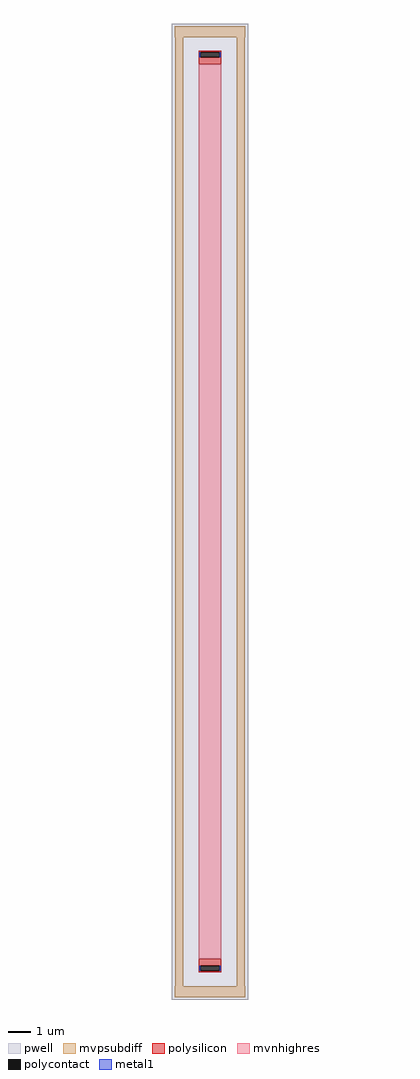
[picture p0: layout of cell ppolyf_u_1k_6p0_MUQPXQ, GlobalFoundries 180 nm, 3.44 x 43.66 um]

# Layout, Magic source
magic
tech gf180mcuD
magscale 1 10
<< pwell >>
rect -344 -4366 344 4366
<< mvpsubdiff >>
rect -316 4243 314 4343
rect -312 -4247 -240 4243
rect 240 -4247 312 4243
rect -316 -4347 314 -4247
<< polysilicon >>
rect -100 4109 100 4122
rect -100 4063 -87 4109
rect 87 4063 100 4109
rect -100 4000 100 4063
rect -100 -4063 100 -4000
rect -100 -4109 -87 -4063
rect 87 -4109 100 -4063
rect -100 -4122 100 -4109
<< polycontact >>
rect -87 4063 87 4109
rect -87 -4109 87 -4063
<< mvnhighres >>
rect -100 -4000 100 4000
<< metal1 >>
rect -98 4063 -87 4109
rect 87 4063 98 4109
rect -98 -4109 -87 -4063
rect 87 -4109 98 -4063
<< properties >>
string FIXED_BBOX -276 -4298 276 4298
string gencell ppolyf_u_1k_6p0
string library gf180mcu
string parameters w 1.0 l 40.0 m 1 nx 1 wmin 1.000 lmin 1.000 class resistor rho 1000 val 40.0k dummy 0 dw 0.0 term 0.0 sterm 0.0 caplen 0.4 snake 0 glc 0 grc 0 gtc 0 gbc 0 roverlap 1 endcov 100 full_metal 0 compatible {ppolyf_u_1k ppolyf_u_1k_6p0}
<< end >>
